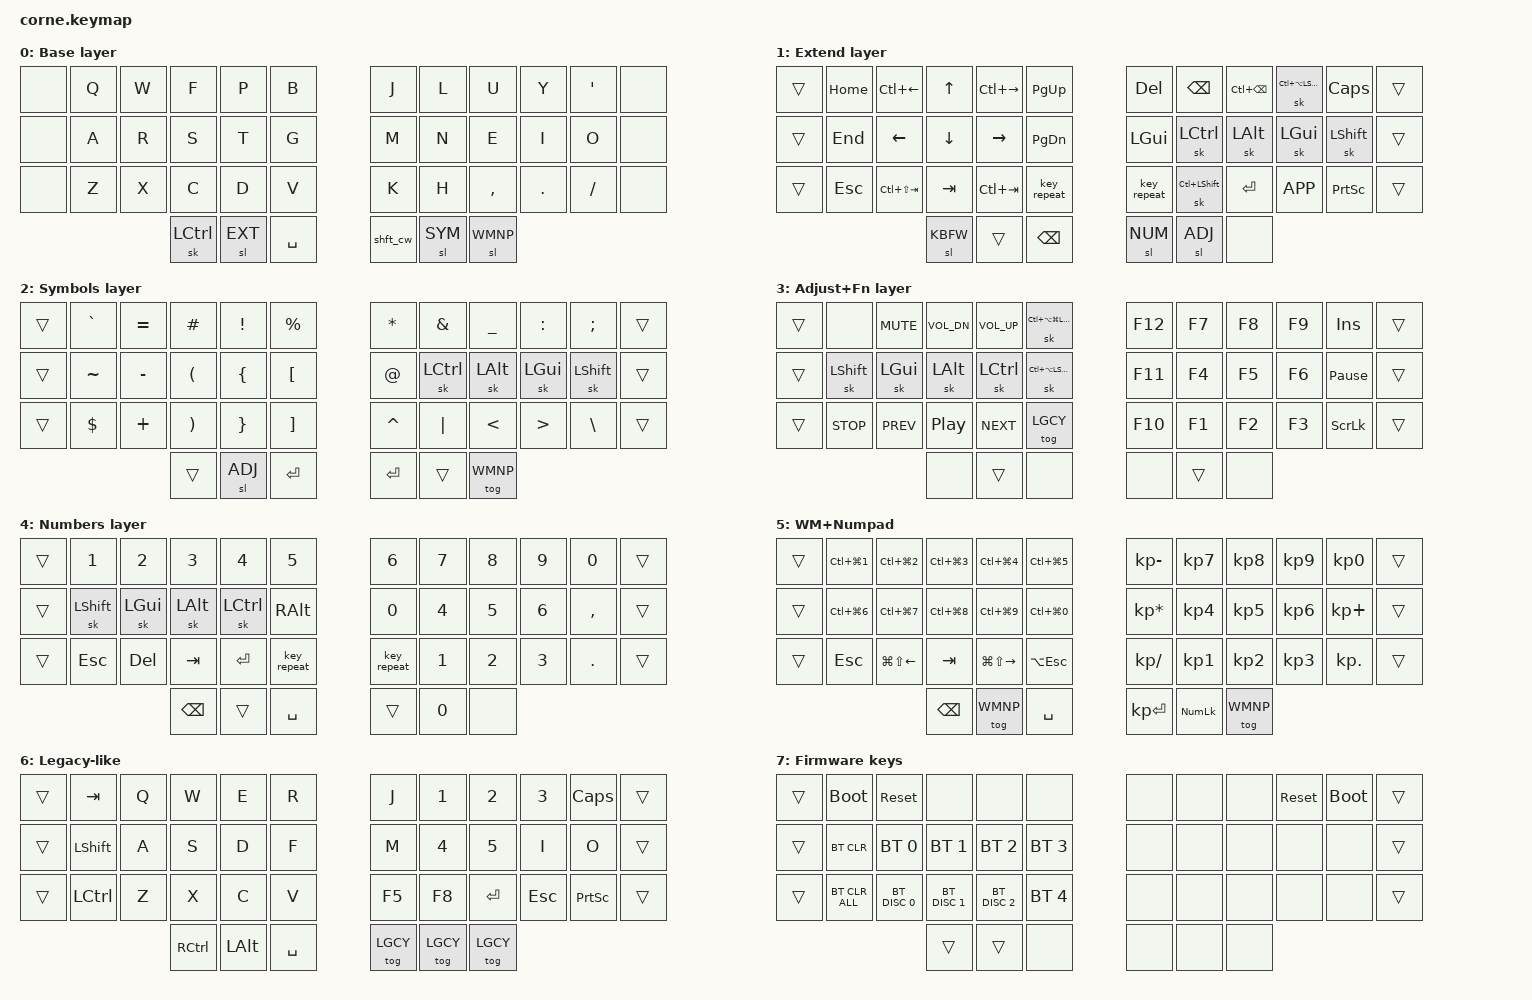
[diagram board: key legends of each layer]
#include <behaviors.dtsi>
#include <dt-bindings/zmk/keys.h>
#include <dt-bindings/zmk/bt.h>


// Layer defines
#define BASE 0
#define EXT 1
#define SYM 2
#define ADJ 3
#define NUM 4
#define WMNP 5
#define LGCY 6
#define KBFW 7

// Keycode defines
#define MEH LC(LA(LSHFT))
#define HYPR LC(LA(LG(LSHFT)))


/ {

    behaviors {

        // Sticky shift with quick-release for the thumb shift_capsword
        skq: sk_quick_release {
            compatible = "zmk,behavior-sticky-key";
            #binding-cells = <1>;
            bindings = <&kp>;
            release-after-ms = <2000>;
            quick-release;
            ignore-modifiers;
        };
        
        // Tap for sticky shift, Hold for shift, double-tap for caps word
        shft_cw: shift_capsword {
            compatible = "zmk,behavior-mod-morph";
            #binding-cells = <0>;
            bindings = <&skq RSHFT>, <&caps_word>;
            mods = <(MOD_RSFT)>;
        };
    };

    keymap {
        compatible = "zmk,keymap";

        base_layer {
            display-name = "Base layer";
            bindings = <
&none  &kp Q  &kp W  &kp F      &kp P    &kp B        &kp J     &kp L    &kp U      &kp Y    &kp SQT   &none
&none  &kp A  &kp R  &kp S      &kp T    &kp G        &kp M     &kp N    &kp E      &kp I    &kp O     &none
&none  &kp Z  &kp X  &kp C      &kp D    &kp V        &kp K     &kp H    &kp COMMA  &kp DOT  &kp FSLH  &none
                     &sk LCTRL  &sl EXT  &kp SPACE    &shft_cw  &sl SYM  &sl WMNP
            >;
        };

        extend {
            display-name = "Extend layer";
            bindings = <
&trans  &kp HOME  &kp LC(LEFT)     &kp UP    &kp LC(RIGHT)  &kp PG_UP      &kp DEL      &kp BSPC       &kp LC(BSPC)  &sk MEH    &kp CAPS   &trans
&trans  &kp END   &kp LEFT         &kp DOWN  &kp RIGHT      &kp PG_DN      &kp LGUI     &sk LCTRL      &sk LALT      &sk LGUI   &sk LSHFT  &trans
&trans  &kp ESC   &kp LC(LS(TAB))  &kp TAB   &kp LC(TAB)    &key_repeat    &key_repeat  &sk LC(LSHFT)  &kp ENTER     &kp K_APP  &kp PSCRN  &trans
                                   &sl KBFW  &trans         &kp BSPC       &sl NUM      &sl ADJ        &none
            >;
        };

        symbols {
            display-name = "Symbols layer";
            bindings = <
&trans  &kp GRAVE &kp EQUAL  &kp HASH  &kp EXCL  &kp PRCNT    &kp ASTRK  &kp AMPS   &kp UNDER  &kp COLON  &kp SEMI   &trans
&trans  &kp TILDE &kp MINUS  &kp LPAR  &kp LBRC  &kp LBKT     &kp AT     &sk LCTRL  &sk LALT   &sk LGUI   &sk LSHFT  &trans
&trans  &kp DLLR  &kp PLUS   &kp RPAR  &kp RBRC  &kp RBKT     &kp CARET  &kp PIPE   &kp LT     &kp GT     &kp BSLH   &trans
                             &trans    &sl ADJ   &kp ENTER    &kp ENTER  &trans     &tog WMNP
            >;
        };

        adjustfn {
            display-name = "Adjust+Fn layer";
            bindings = <
&trans  &none       &kp C_MUTE  &kp C_VOL_DN      &kp C_VOL_UP  &sk HYPR    &kp F12  &kp F7   &kp F8   &kp F9  &kp INSERT       &trans
&trans  &sk LSHFT   &sk LGUI    &sk LALT          &sk LCTRL     &sk MEH     &kp F11  &kp F4   &kp F5   &kp F6  &kp PAUSE_BREAK  &trans
&trans  &kp C_STOP  &kp C_PREV  &kp C_PLAY_PAUSE  &kp C_NEXT    &tog LGCY   &kp F10  &kp F1   &kp F2   &kp F3  &kp SCROLLLOCK   &trans
                                &none             &trans        &none       &none    &trans   &none
            >;
        };

        numbers {
            display-name = "Numbers layer";
            bindings = <
&trans  &kp N1    &kp N2    &kp N3     &kp N4     &kp N5         &kp N6       &kp N7  &kp N8  &kp N9  &kp N0     &trans
&trans  &sk LSHFT &sk LGUI  &sk LALT   &sk LCTRL  &kp RALT       &kp N0       &kp N4  &kp N5  &kp N6  &kp COMMA  &trans
&trans  &kp ESC   &kp DEL   &kp TAB    &kp ENTER  &key_repeat    &key_repeat  &kp N1  &kp N2  &kp N3  &kp DOT    &trans
                            &kp BSPC   &trans     &kp SPACE      &trans       &kp N0  &none
            >;
        };

        wmnumpad {
            display-name = "WM+Numpad";
            bindings = <
&trans  &kp LC(LG(N1)) &kp LC(LG(N2))   &kp LC(LG(N3))  &kp LC(LG(N4))    &kp LC(LG(N5))    &kp KP_MINUS     &kp KP_N7   &kp KP_N8  &kp KP_N9  &kp KP_N0    &trans
&trans  &kp LC(LG(N6)) &kp LC(LG(N7))   &kp LC(LG(N8))  &kp LC(LG(N9))    &kp LC(LG(N0))    &kp KP_MULTIPLY  &kp KP_N4   &kp KP_N5  &kp KP_N6  &kp KP_PLUS  &trans
&trans  &kp ESC        &kp LG(LS(LEFT)) &kp TAB         &kp LG(LS(RIGHT)) &kp LA(ESC)       &kp KP_DIVIDE    &kp KP_N1   &kp KP_N2  &kp KP_N3  &kp KP_DOT   &trans
                                        &kp BSPC        &tog WMNP         &kp SPACE         &kp KP_ENTER     &kp KP_NUM  &tog WMNP
            >;
        };

        legacy {
            display-name = "Legacy-like";
            bindings = <
&trans  &kp TAB    &kp Q  &kp W      &kp E     &kp R        &kp J      &kp N1     &kp N2     &kp N3   &kp CAPS   &trans
&trans  &kp LSHFT  &kp A  &kp S      &kp D     &kp F        &kp M      &kp N4     &kp N5     &kp I    &kp O      &trans
&trans  &kp LCTRL  &kp Z  &kp X      &kp C     &kp V        &kp F5     &kp F8     &kp ENTER  &kp ESC  &kp PSCRN  &trans
                          &kp RCTRL  &kp LALT  &kp SPACE    &tog LGCY  &tog LGCY  &tog LGCY
            >;
        };

        kbfw {
            display-name = "Firmware keys";
            bindings = <
&trans  &bootloader     &sys_reset     &none          &none          &none           &none  &none  &none  &sys_reset  &bootloader  &trans
&trans  &bt BT_CLR      &bt BT_SEL 0   &bt BT_SEL 1   &bt BT_SEL 2   &bt BT_SEL 3    &none  &none  &none  &none       &none        &trans
&trans  &bt BT_CLR_ALL  &bt BT_DISC 0  &bt BT_DISC 1  &bt BT_DISC 2  &bt BT_SEL 4    &none  &none  &none  &none       &none        &trans
                                       &trans         &trans         &none           &none  &none  &none
            >;
        };
    };
};
